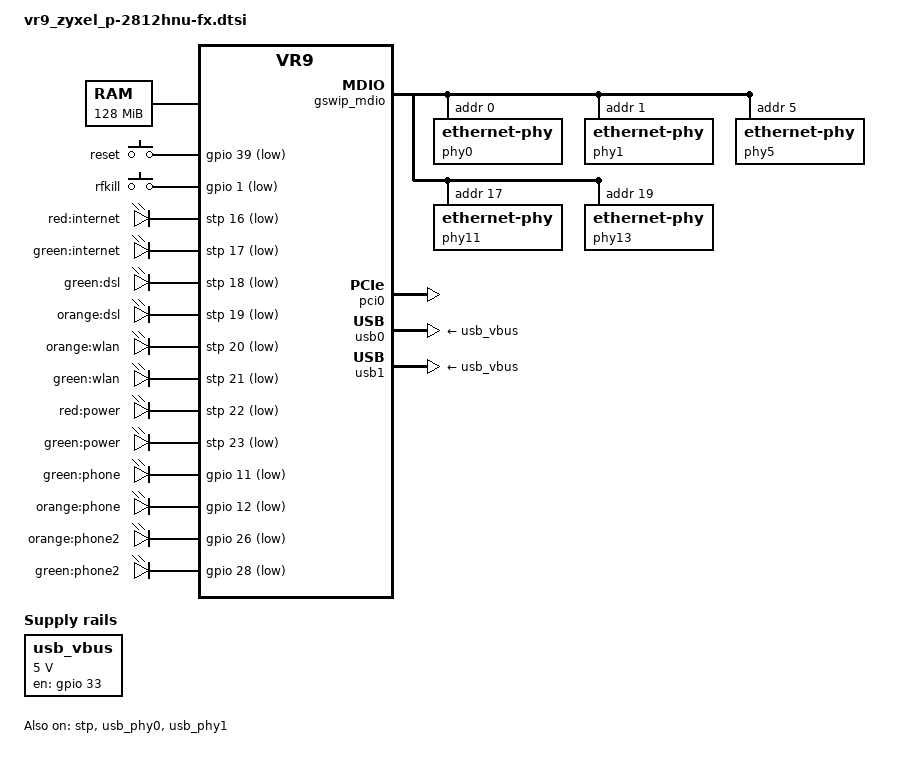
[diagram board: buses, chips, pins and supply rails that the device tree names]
#include "vr9.dtsi"

#include <dt-bindings/input/input.h>
#include <dt-bindings/mips/lantiq_rcu_gphy.h>

/ {
	compatible = "zyxel,p-2812hnu", "lantiq,xway", "lantiq,vr9";

	chosen {
		bootargs = "console=ttyLTQ0,115200";
	};

	aliases {
		led-boot = &power_green;
		led-failsafe = &power_red;
		led-running = &power_green;
		led-upgrade = &power_green;

		led-dsl = &dsl_green;
		led-internet = &internet_green;
		led-wifi = &wireless_green;
	};

	memory@0 {
		device_type = "memory";
		reg = <0x0 0x8000000>;
	};

	keys {
		compatible = "gpio-keys-polled";
		poll-interval = <100>;

		reset {
			label = "reset";
			gpios = <&gpio 39 GPIO_ACTIVE_LOW>;
			linux,code = <KEY_RESTART>;
		};

		rfkill {
			label = "rfkill";
			gpios = <&gpio 1 GPIO_ACTIVE_LOW>;
			linux,code = <KEY_RFKILL>;
		};
	};

	leds {
		compatible = "gpio-leds";

		internet_red {
			label = "red:internet";
			gpios = <&stp 16 GPIO_ACTIVE_LOW>;
		};
		internet_green: internet_green {
			label = "green:internet";
			gpios = <&stp 17 GPIO_ACTIVE_LOW>;
		};
		dsl_green: dsl_green {
			label = "green:dsl";
			gpios = <&stp 18 GPIO_ACTIVE_LOW>;
		};
		dsl_orange {
			label = "orange:dsl";
			gpios = <&stp 19 GPIO_ACTIVE_LOW>;
		};
		wireless_orange {
			label = "orange:wlan";
			gpios = <&stp 20 GPIO_ACTIVE_LOW>;
		};
		wireless_green: wireless_green {
			label = "green:wlan";
			gpios = <&stp 21 GPIO_ACTIVE_LOW>;
		};
		power_red: power {
			label = "red:power";
			gpios = <&stp 22 GPIO_ACTIVE_LOW>;
		};
		power_green: power2 {
			label = "green:power";
			gpios = <&stp 23 GPIO_ACTIVE_LOW>;
			default-state = "keep";
		};
		phone1 {
			label = "green:phone";
			gpios = <&gpio 11 GPIO_ACTIVE_LOW>;
		};
		phone1warn {
			label = "orange:phone";
			gpios = <&gpio 12 GPIO_ACTIVE_LOW>;
		};
		phone2warn {
			label = "orange:phone2";
			gpios = <&gpio 26 GPIO_ACTIVE_LOW>;
		};
		phone2 {
			label = "green:phone2";
			gpios = <&gpio 28 GPIO_ACTIVE_LOW>;
		};
	};

	usb_vbus: regulator-usb-vbus {
		compatible = "regulator-fixed";

		regulator-name = "USB_VBUS";

		regulator-min-microvolt = <5000000>;
		regulator-max-microvolt = <5000000>;

		gpio = <&gpio 33 GPIO_ACTIVE_HIGH>;
		enable-active-high;
	};
};

&gphy0 {
	lantiq,gphy-mode = <GPHY_MODE_GE>;
};

&gphy1 {
	lantiq,gphy-mode = <GPHY_MODE_GE>;
};

&gpio {
	pinctrl-names = "default";
	pinctrl-0 = <&state_default>;

	state_default: pinmux {
		exin3 {
			lantiq,groups = "exin3";
			lantiq,function = "exin";
		};
		pci_rst {
			lantiq,pins = "io21";
			lantiq,output = <1>;
			lantiq,open-drain = <0>;
			lantiq,pull = <2>;
		};
		pcie-rst {
			lantiq,pins = "io38";
			lantiq,pull = <0>;
			lantiq,output = <1>;
		};
		ifxhcd-rst {
			lantiq,pins = "io33";
			lantiq,pull = <0>;
			lantiq,open-drain = <0>;
			lantiq,output = <1>;
		};
	};
};

&gswip {
	pinctrl-0 = <&mdio_pins>,
		    <&gphy0_led1_pins>, <&gphy0_led2_pins>,
		    <&gphy1_led1_pins>, <&gphy1_led2_pins>;
	pinctrl-names = "default";
};

&gswip_mdio {
	phy0: ethernet-phy@0 {
		reg = <0x0>;
	};
	phy1: ethernet-phy@1 {
		reg = <0x1>;
	};
	phy5: ethernet-phy@5 {
		reg = <0x5>;
	};
	phy11: ethernet-phy@11 {
		reg = <0x11>;
	};
	phy13: ethernet-phy@13 {
		reg = <0x13>;
	};
};

&gswip_ports {
	port@0 {
		reg = <0>;
		label = "lan1";
		phy-mode = "rgmii";
		phy-handle = <&phy0>;
	};
	port@1 {
		reg = <1>;
		label = "lan2";
		phy-mode = "rgmii";
		phy-handle = <&phy1>;
	};
	port@2 {
		reg = <2>;
		label = "lan3";
		phy-mode = "internal";
		phy-handle = <&phy11>;
	};
	port@4 {
		reg = <4>;
		label = "lan4";
		phy-mode = "internal";
		phy-handle = <&phy13>;
	};
	port@5 {
		reg = <5>;
		label = "wan";
		phy-mode = "rgmii";
		phy-handle = <&phy5>;
	};
};

&pci0 {
	status = "okay";

	pinctrl-0 = <&pci_gnt1_pins>, <&pci_req1_pins>;
	pinctrl-names = "default";

	gpio-reset = <&gpio 21 GPIO_ACTIVE_HIGH>;
};

&stp {
	status = "okay";
};

&usb_phy0 {
	status = "okay";
};

&usb_phy1 {
	status = "okay";
};

&usb0 {
	status = "okay";
	vbus-supply = <&usb_vbus>;
};

&usb1 {
	status = "okay";
	vbus-supply = <&usb_vbus>;
};
